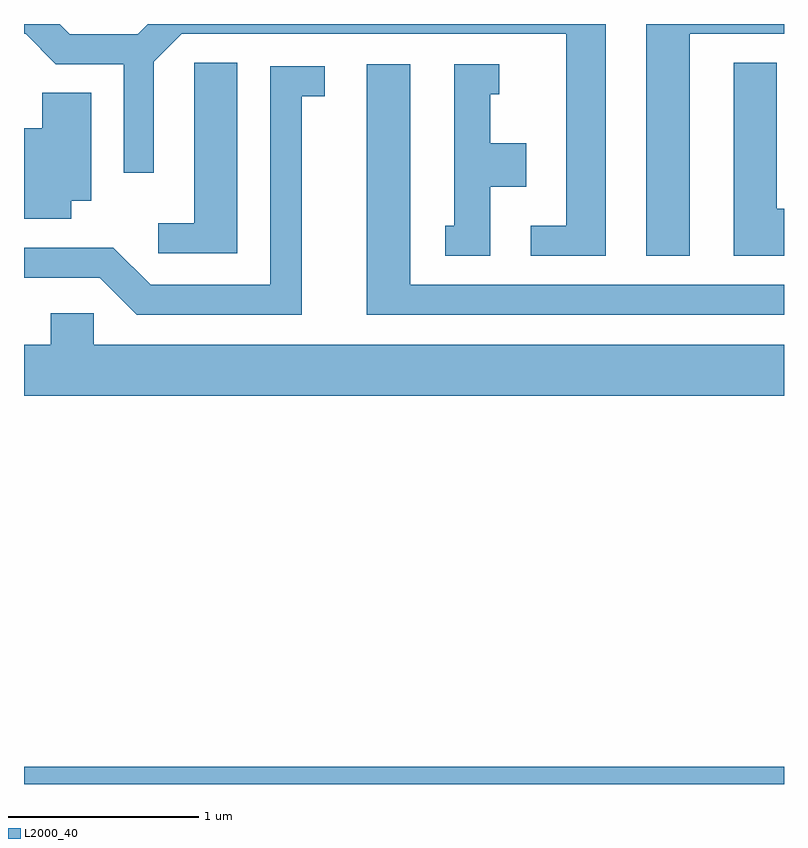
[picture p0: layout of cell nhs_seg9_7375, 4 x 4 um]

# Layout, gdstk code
import gdstk
lib = gdstk.Library(unit=1e-6, precision=1e-09)
def R(c, l, rs):  # rectangles x0, y0, x1, y1
    for r in rs: c.add(gdstk.rectangle(r[:2], r[2:], *l))
def P(c, l, *ps):  # polygons
    for p in ps: c.add(gdstk.Polygon(p, *l))
L2000_40 = (2000, 40)

nhs_seg9_7375 = lib.new_cell('nhs_seg9_7375')
R(nhs_seg9_7375, L2000_40, [(403.611,1996.432,407.611,1996.524)])
P(nhs_seg9_7375, L2000_40, [(406.674,2000.432),(404.262,2000.432),(404.209,2000.379),(403.852,2000.379),(403.799,2000.432),(403.611,2000.432),(403.611,2000.381),(403.619,2000.381),(403.779,2000.221),(404.136,2000.221),(404.136,1999.648),(404.294,1999.648),(404.294,2000.234),(404.442,2000.381),(406.466,2000.381),(406.466,1999.369),(406.278,1999.369),(406.278,1999.211),(406.674,1999.211)],
  [(407.114,2000.381),(407.611,2000.381),(407.611,2000.432),(406.886,2000.432),(406.886,1999.211),(407.114,1999.211)],
  [(407.611,1999.459),(407.574,1999.459),(407.574,2000.229),(407.346,2000.229),(407.346,1999.211),(407.611,1999.211)],
  [(404.734,2000.229),(404.506,2000.229),(404.506,1999.384),(404.318,1999.384),(404.318,1999.226),(404.734,1999.226)],
  [(406.064,1999.576),(406.254,1999.576),(406.254,1999.804),(406.064,1999.804),(406.064,2000.061),(406.113,2000.061),(406.113,2000.219),(405.876,2000.219),(405.876,1999.369),(405.828,1999.369),(405.828,1999.211),(406.064,1999.211)],
  [(407.611,1999.059),(405.644,1999.059),(405.644,2000.219),(405.416,2000.219),(405.416,1998.901),(407.611,1998.901)],
  [(405.074,2000.051),(405.193,2000.051),(405.193,2000.209),(404.906,2000.209),(404.906,1999.059),(404.277,1999.059),(404.082,1999.254),(403.611,1999.254),(403.611,1999.096),(404.009,1999.096),(404.204,1998.901),(405.074,1998.901)],
  [(403.859,1999.501),(403.964,1999.501),(403.964,2000.069),(403.706,2000.069),(403.706,1999.884),(403.611,1999.884),(403.611,1999.406),(403.859,1999.406)],
  [(407.611,1998.744),(403.979,1998.744),(403.979,1998.909),(403.751,1998.909),(403.751,1998.744),(403.611,1998.744),(403.611,1998.476),(407.611,1998.476)])

lib.write_gds('nhs_seg9_7375.gds')
